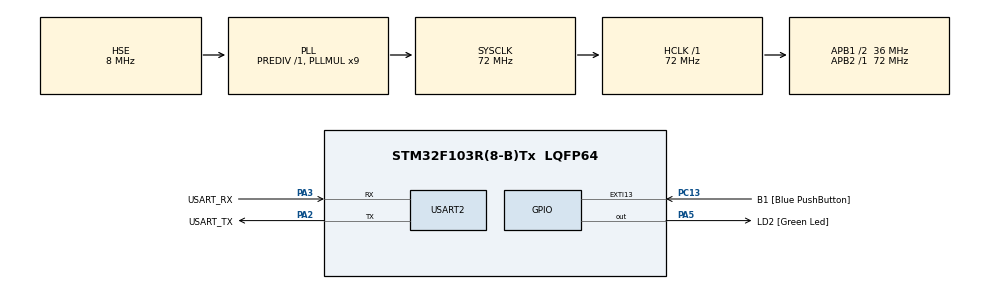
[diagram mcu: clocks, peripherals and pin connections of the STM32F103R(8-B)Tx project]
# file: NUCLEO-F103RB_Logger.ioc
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Dma.Request0=USART2_TX
Dma.USART2_TX.0.Direction=DMA_MEMORY_TO_PERIPH
Dma.USART2_TX.0.Instance=DMA1_Channel7
Dma.USART2_TX.0.MemDataAlignment=DMA_MDATAALIGN_BYTE
Dma.USART2_TX.0.MemInc=DMA_MINC_ENABLE
Dma.USART2_TX.0.Mode=DMA_NORMAL
Dma.USART2_TX.0.PeriphDataAlignment=DMA_PDATAALIGN_BYTE
Dma.USART2_TX.0.PeriphInc=DMA_PINC_DISABLE
Dma.USART2_TX.0.Priority=DMA_PRIORITY_LOW
Mcu.Family=STM32F1
Mcu.Name=STM32F103R(8-B)Tx
Mcu.Package=LQFP64
NVIC.DMA1_Channel7_IRQn=true\:0\:0\:false\:false\:true\:false\:true\:true
NVIC.EXTI15_10_IRQn=true\:0\:0\:false\:false\:true\:true\:true\:true
NVIC.PriorityGroup=NVIC_PRIORITYGROUP_4
NVIC.USART2_IRQn=true\:0\:0\:false\:false\:true\:true\:true\:true
PA13.GPIO_Label=TMS
PA13.Mode=Serial_Wire
PA13.Signal=SYS_JTMS-SWDIO
PA14.GPIO_Label=TCK
PA14.Mode=Serial_Wire
PA14.Signal=SYS_JTCK-SWCLK
PA2.GPIO_Label=USART_TX
PA2.GPIO_Mode=GPIO_MODE_AF_PP
PA2.GPIO_PuPd=GPIO_NOPULL
PA2.GPIO_Speed=GPIO_SPEED_FREQ_LOW
PA2.Mode=Asynchronous
PA2.Signal=USART2_TX
PA3.GPIO_Label=USART_RX
PA3.GPIO_Mode=GPIO_MODE_AF_PP
PA3.GPIO_PuPd=GPIO_NOPULL
PA3.GPIO_Speed=GPIO_SPEED_FREQ_LOW
PA3.Mode=Asynchronous
PA3.Signal=USART2_RX
PA5.GPIO_Label=LD2 [Green Led]
PA5.GPIO_ModeDefaultOutputPP=GPIO_MODE_OUTPUT_PP
PA5.GPIO_PuPd=GPIO_NOPULL
PA5.GPIO_Speed=GPIO_SPEED_FREQ_LOW
PA5.Signal=GPIO_Output
PB3.GPIO_Label=SWO
PB3.Signal=SYS_JTDO-TRACESWO
PC13-TAMPER-RTC.GPIO_Label=B1 [Blue PushButton]
PC13-TAMPER-RTC.GPIO_PuPd=GPIO_NOPULL
PC13-TAMPER-RTC.Signal=GPXTI13
PC14-OSC32_IN.Mode=LSE-External-Oscillator
PC14-OSC32_IN.Signal=RCC_OSC32_IN
PC15-OSC32_OUT.Mode=LSE-External-Oscillator
PC15-OSC32_OUT.Signal=RCC_OSC32_OUT
PD0-OSC_IN.Mode=HSE-External-Clock-Source
PD0-OSC_IN.Signal=RCC_OSC_IN
PD1-OSC_OUT.Mode=HSE-External-Clock-Source
PD1-OSC_OUT.Signal=RCC_OSC_OUT
ProjectManager.HeapSize=0x200
ProjectManager.StackSize=0x1000
ProjectManager.TargetToolchain=STM32CubeIDE
RCC.AHBFreq_Value=72000000
RCC.APB1CLKDivider=RCC_HCLK_DIV2
RCC.APB1Freq_Value=36000000
RCC.APB1TimFreq_Value=72000000
RCC.APB2Freq_Value=72000000
RCC.APB2TimFreq_Value=72000000
RCC.HCLKFreq_Value=72000000
RCC.PLLMUL=RCC_PLL_MUL9
RCC.PLLSourceVirtual=RCC_PLLSOURCE_HSE
RCC.RTCClockSelection=RCC_RTCCLKSOURCE_LSE
RCC.SYSCLKFreq_VALUE=72000000
RCC.SYSCLKSource=RCC_SYSCLKSOURCE_PLLCLK
RCC.USBFreq_Value=72000000
TIM4.Channel-PWM\ Generation1\ No\ Output=TIM_CHANNEL_1
TIM4.Prescaler=72-1
USART2.VirtualMode=VM_ASYNC
VP_TIM4_VS_ClockSourceINT.Mode=Internal
VP_TIM4_VS_no_output1.Mode=PWM Generation1 No Output
board=NUCLEO-F103RB

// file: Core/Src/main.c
/* USER CODE BEGIN Header */
/**
  ******************************************************************************
  * @file           : main.c
  * @brief          : Main program body
  ******************************************************************************
  * @attention
  *
  * Copyright (c) 2024 STMicroelectronics.
  * All rights reserved.
  *
  * This software is licensed under terms that can be found in the LICENSE file
  * in the root directory of this software component.
  * If no LICENSE file comes with this software, it is provided AS-IS.
  *
  ******************************************************************************
  */
/* USER CODE END Header */
#include "main.h"

/* USER CODE BEGIN Includes */
#include "log.h"
#include <stdio.h> // printf()

/* USER CODE END Includes */

TIM_HandleTypeDef htim4;

UART_HandleTypeDef huart2;
DMA_HandleTypeDef hdma_usart2_tx;

void SystemClock_Config(void);
static void MX_GPIO_Init(void);
static void MX_DMA_Init(void);
static void MX_USART2_UART_Init(void);
static void MX_TIM4_Init(void);

/* USER CODE BEGIN 0 */
#define HAL_SMALL_WAIT  40
// Define serial input and output functions using UART2
int __io_putchar(int ch)
{
    HAL_UART_Transmit(&huart2, (uint8_t *)&ch, 1, HAL_SMALL_WAIT);
    return 1;
}

// Read a character from the UART with small timeout
// This function works well if called within a 50ms or shorter loop, but may lose characters if
// data is received with any real speed.
// Use DMA for receive data if trying to perform higher speed communication (anything faster than typing).
// If HAL_UART_Receive() returns error, return EOF (-1), else return the character read
int __io_getchar(void)
{
    uint8_t byte;
    HAL_StatusTypeDef hal_status = HAL_UART_Receive(&huart2, &byte, sizeof(byte), HAL_SMALL_WAIT);
    if(HAL_OK == hal_status)
    {
        return byte;
    }
    else
        return EOF;
}

/* USER CODE END 0 */

int main(void)
{

  /* MCU Configuration--------------------------------------------------------*/

  /* Reset of all peripherals, Initializes the Flash interface and the Systick. */
  HAL_Init();

  /* Configure the system clock */
  SystemClock_Config();

  /* Initialize all configured peripherals */
  MX_GPIO_Init();
  MX_DMA_Init();
  MX_USART2_UART_Init();
  MX_TIM4_Init();
  /* USER CODE BEGIN 2 */
  // Write a string to UART2, waiting for it to complete
  //const char version[]={"VER 2.0.0\n"};
  //HAL_UART_Transmit(&huart2, (uint8_t *)version, strlen(version), 50);
  setvbuf(stdout, NULL, _IONBF, 0); // stdout is to be unbuffered
  printf("VER 2.1.1\n");
  /* USER CODE END 2 */

  /* Infinite loop */
  /* USER CODE BEGIN WHILE */
  //volatile TIM_TypeDef *TIM4 = TIM4; // Use timer 4
  while (1)
  {
	//logmsg(bigstring);
	//                 1         2         3         4         5         6         7         8         9         0         1         2         3
	//logmsg("123456789012345678901234567890123456789012345678901234567890123456789012345678901234567890123456789012345678901234567890123456789"); // 129 + Null
	//logmsg("######################################################################################################################012345678"); // 127 + Null
	//logmsg("AAAAAAAAAABBBBBBBBBBCCCCCCCCCCDDDDDDDDDDEEEEEEEEEEFFFFFFFFFFGGGGGGGGGGHHHHHHHHHHIIIIIIIIIIJJJJJJJJJJKKKKKKKKKKLLLLLLLLLABCDEFGHIJ"); // 129 + Null
	//logmsg("The quick brown fox jumped over the lazy dog!"); // text string with line feed
	//logmsg("One, two, buckle my shoe");
	//logmsg("Three, four, shut the door");
	//logmsg("Five, six, pick up sticks");
	//logmsg("Seven, eight, lay them straight");
	//logmsg("Nine, ten, big fat hen");

//	// Tests for 16 byte DMA buffer with 4 byte composing buffer
//    logmsg("onezy");
//    logmsg("two");
//    logmsg("thr");
//    logmsg("fo");
	//const uint32_t _32bitnumber = 0x89ABCDEF;
	// Test: Record time to post 10 quantity - 50 byte (49+null) message, each with a '0X%08X' hex value
	//               1         2         3         4         5         6         7         8         9         0         1         2         3
	//      123456789012345678901234567890123456789012345678901234567890123456789012345678901234567890123456789012345678901234567890123456789"); // 129 + Null
	uint16_t start_us = TIM4->CNT; // read us hardware timer
//	logmsg("1234567890123456789012345678901234567890X%08lX",_32bitnumber);
//	logmsg("#######################################0X%08lX",_32bitnumber);
//	logmsg("AAAAAAAAAABBBBBBBBBBCCCCCCCCCCDDDDDDDDD0X%08lX",_32bitnumber);
//	logmsg("***************************************0X%08lX",_32bitnumber);
//	logmsg("***************************************0X%08lX",_32bitnumber);
//	logmsg("***************************************0X%08lX",_32bitnumber);
//	logmsg("***************************************0X%08lX",_32bitnumber);
//	logmsg("$$$$$$$$$$$$$$$$$$$$$$$$$$$$$$$$$$$$$$$0X%08lX",_32bitnumber);
//	logmsg(":::::::::::::::::::::::::::::::::::::::0X%08lX",_32bitnumber);
//	logmsg("@@@@@@@@@@@@@@@@@@@@@@@@@@@@@@@@@@@@@@@0X%08lX",_32bitnumber);
//	uint16_t stop_us = TIM4->CNT; // read us hardware timer
//	logmsg("\n\nTime: %dus\n",stop_us-start_us);

	// Test results:  557us to compose and queue 10 debug messages (with 32-bit hex value expansion)
	// 55.7 us each.  Test was performed with STM32F103RB at 64MHz.

	// Test results #2:  495us to compose and queue 10 debug messages (with 32-bit hex value expansion)
	// 49.5 us each.  Test was performed with STM32F103RB at 72MHz.

	logmsg("1234567890123456789012345678901234567890123456789");
	logmsg("#################################################");
	logmsg("AAAAAAAAAABBBBBBBBBBCCCCCCCCCCDDDDDDDDDDEEEEEEEEE");
	logmsg("*************************************************");
	logmsg("*************************************************");
	logmsg("*************************************************");
	logmsg("*************************************************");
	logmsg("$$$$$$$$$$$$$$$$$$$$$$$$$$$$$$$$$$$$$$$$$$$$$$$$$");
	logmsg(":::::::::::::::::::::::::::::::::::::::::::::::::");
	logmsg("@@@@@@@@@@@@@@@@@@@@@@@@@@@@@@@@@@@@@@@@@@@@@@@@@");

	uint16_t stop_us = TIM4->CNT; // read us hardware timer
	logmsg("Time: %dus",stop_us-start_us);

	// Test results #3:  375us to compose and queue 10 debug messages (no expansion within format string)
	// 37.5 us each.  Test was performed with STM32F103RB at 72MHz.

    //void hexdump(const void* address, unsigned count);
    //extern char _usart2_tx_dma_buffer[];
    //hexdump(_usart2_tx_dma_buffer,LOG_DMA_BUFFER_SIZE);  // Dump the contents of the DMA buffer

	HAL_Delay(5000); // Allow DMA printing process to catch up
    /* USER CODE END WHILE */

  }
}

void SystemClock_Config(void)
{
  RCC_OscInitTypeDef RCC_OscInitStruct = {0};
  RCC_ClkInitTypeDef RCC_ClkInitStruct = {0};

  /** Initializes the RCC Oscillators according to the specified parameters
  * in the RCC_OscInitTypeDef structure.
  */
  RCC_OscInitStruct.OscillatorType = RCC_OSCILLATORTYPE_HSE;
  RCC_OscInitStruct.HSEState = RCC_HSE_BYPASS;
  RCC_OscInitStruct.HSEPredivValue = RCC_HSE_PREDIV_DIV1;
  RCC_OscInitStruct.HSIState = RCC_HSI_ON;
  RCC_OscInitStruct.PLL.PLLState = RCC_PLL_ON;
  RCC_OscInitStruct.PLL.PLLSource = RCC_PLLSOURCE_HSE;
  RCC_OscInitStruct.PLL.PLLMUL = RCC_PLL_MUL9;
  if (HAL_RCC_OscConfig(&RCC_OscInitStruct) != HAL_OK)
  {
    Error_Handler();
  }

  /** Initializes the CPU, AHB and APB buses clocks
  */
  RCC_ClkInitStruct.ClockType = RCC_CLOCKTYPE_HCLK|RCC_CLOCKTYPE_SYSCLK
                              |RCC_CLOCKTYPE_PCLK1|RCC_CLOCKTYPE_PCLK2;
  RCC_ClkInitStruct.SYSCLKSource = RCC_SYSCLKSOURCE_PLLCLK;
  RCC_ClkInitStruct.AHBCLKDivider = RCC_SYSCLK_DIV1;
  RCC_ClkInitStruct.APB1CLKDivider = RCC_HCLK_DIV2;
  RCC_ClkInitStruct.APB2CLKDivider = RCC_HCLK_DIV1;

  if (HAL_RCC_ClockConfig(&RCC_ClkInitStruct, FLASH_LATENCY_2) != HAL_OK)
  {
    Error_Handler();
  }
}

static void MX_TIM4_Init(void)
{

  TIM_ClockConfigTypeDef sClockSourceConfig = {0};
  TIM_MasterConfigTypeDef sMasterConfig = {0};
  TIM_OC_InitTypeDef sConfigOC = {0};

  htim4.Instance = TIM4;
  htim4.Init.Prescaler = 72-1;
  htim4.Init.CounterMode = TIM_COUNTERMODE_UP;
  htim4.Init.Period = 65535;
  htim4.Init.ClockDivision = TIM_CLOCKDIVISION_DIV1;
  htim4.Init.AutoReloadPreload = TIM_AUTORELOAD_PRELOAD_DISABLE;
  if (HAL_TIM_Base_Init(&htim4) != HAL_OK)
  {
    Error_Handler();
  }
  sClockSourceConfig.ClockSource = TIM_CLOCKSOURCE_INTERNAL;
  if (HAL_TIM_ConfigClockSource(&htim4, &sClockSourceConfig) != HAL_OK)
  {
    Error_Handler();
  }
  if (HAL_TIM_PWM_Init(&htim4) != HAL_OK)
  {
    Error_Handler();
  }
  sMasterConfig.MasterOutputTrigger = TIM_TRGO_RESET;
  sMasterConfig.MasterSlaveMode = TIM_MASTERSLAVEMODE_DISABLE;
  if (HAL_TIMEx_MasterConfigSynchronization(&htim4, &sMasterConfig) != HAL_OK)
  {
    Error_Handler();
  }
  sConfigOC.OCMode = TIM_OCMODE_PWM1;
  sConfigOC.Pulse = 0;
  sConfigOC.OCPolarity = TIM_OCPOLARITY_HIGH;
  sConfigOC.OCFastMode = TIM_OCFAST_DISABLE;
  if (HAL_TIM_PWM_ConfigChannel(&htim4, &sConfigOC, TIM_CHANNEL_1) != HAL_OK)
  {
    Error_Handler();
  }
  /* USER CODE BEGIN TIM4_Init 2 */
  HAL_TIM_Base_Start(&htim4);
  /* USER CODE END TIM4_Init 2 */

}

static void MX_USART2_UART_Init(void)
{

  huart2.Instance = USART2;
  huart2.Init.BaudRate = 115200;
  huart2.Init.WordLength = UART_WORDLENGTH_8B;
  huart2.Init.StopBits = UART_STOPBITS_1;
  huart2.Init.Parity = UART_PARITY_NONE;
  huart2.Init.Mode = UART_MODE_TX_RX;
  huart2.Init.HwFlowCtl = UART_HWCONTROL_NONE;
  huart2.Init.OverSampling = UART_OVERSAMPLING_16;
  if (HAL_UART_Init(&huart2) != HAL_OK)
  {
    Error_Handler();
  }

}

static void MX_DMA_Init(void)
{

  /* DMA controller clock enable */
  __HAL_RCC_DMA1_CLK_ENABLE();

  /* DMA interrupt init */
  /* DMA1_Channel7_IRQn interrupt configuration */
  HAL_NVIC_SetPriority(DMA1_Channel7_IRQn, 0, 0);
  HAL_NVIC_EnableIRQ(DMA1_Channel7_IRQn);

}

static void MX_GPIO_Init(void)
{
  GPIO_InitTypeDef GPIO_InitStruct = {0};

  /* GPIO Ports Clock Enable */
  __HAL_RCC_GPIOC_CLK_ENABLE();
  __HAL_RCC_GPIOD_CLK_ENABLE();
  __HAL_RCC_GPIOA_CLK_ENABLE();
  __HAL_RCC_GPIOB_CLK_ENABLE();

  /*Configure GPIO pin Output Level */
  HAL_GPIO_WritePin(LD2_GPIO_Port, LD2_Pin, GPIO_PIN_RESET);

  /*Configure GPIO pin : B1_Pin */
  GPIO_InitStruct.Pin = B1_Pin;
  GPIO_InitStruct.Mode = GPIO_MODE_IT_RISING;
  GPIO_InitStruct.Pull = GPIO_NOPULL;
  HAL_GPIO_Init(B1_GPIO_Port, &GPIO_InitStruct);

  /*Configure GPIO pin : LD2_Pin */
  GPIO_InitStruct.Pin = LD2_Pin;
  GPIO_InitStruct.Mode = GPIO_MODE_OUTPUT_PP;
  GPIO_InitStruct.Pull = GPIO_NOPULL;
  GPIO_InitStruct.Speed = GPIO_SPEED_FREQ_LOW;
  HAL_GPIO_Init(LD2_GPIO_Port, &GPIO_InitStruct);

  /* EXTI interrupt init*/
  HAL_NVIC_SetPriority(EXTI15_10_IRQn, 0, 0);
  HAL_NVIC_EnableIRQ(EXTI15_10_IRQn);

}

void Error_Handler(void)
{
  __disable_irq();
  while (1)
  {
  }
}
